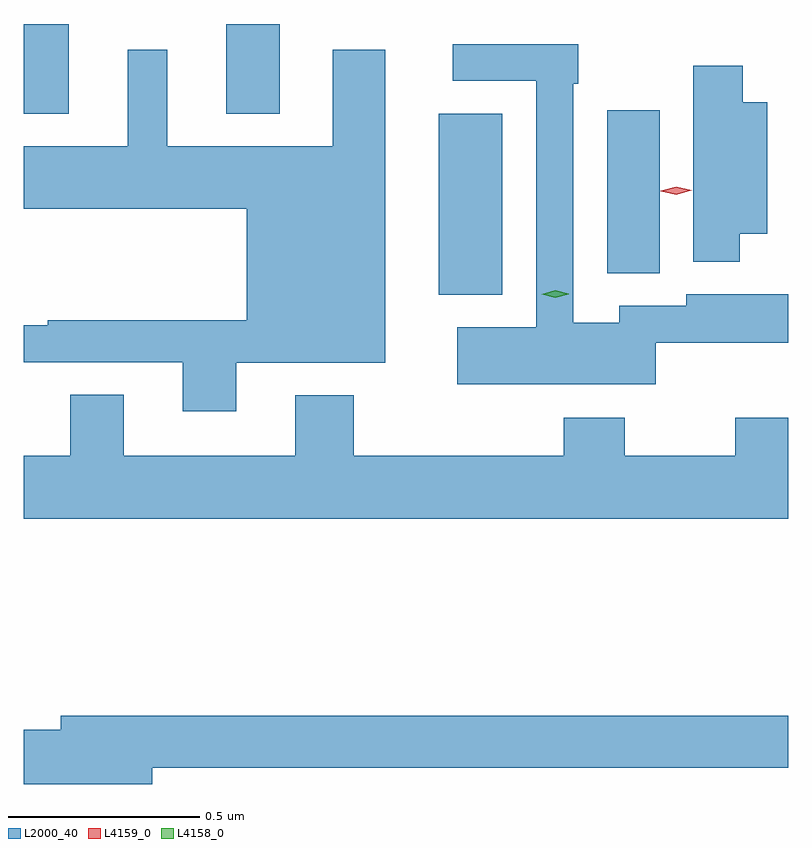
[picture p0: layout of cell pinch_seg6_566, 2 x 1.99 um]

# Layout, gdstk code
import gdstk
lib = gdstk.Library(unit=1e-6, precision=1e-09)
def R(c, l, rs):  # rectangles x0, y0, x1, y1
    for r in rs: c.add(gdstk.rectangle(r[:2], r[2:], *l))
def P(c, l, *ps):  # polygons
    for p in ps: c.add(gdstk.Polygon(p, *l))
L2000_40 = (2000, 40)
L4158_0 = (4158, 0)
L4159_0 = (4159, 0)

pinch_seg6_566 = lib.new_cell('pinch_seg6_566')
R(pinch_seg6_566, L2000_40, [(578.726,990.545,578.893,991.019), (579.167,990.601,579.304,991.027), (577.641,991.019,577.759,991.253), (578.171,991.019,578.311,991.253)])
P(pinch_seg6_566, L2000_40, [(579.294,990.419),(579.641,990.419),(579.641,990.547),(579.374,990.547),(579.374,990.516),(579.198,990.516),(579.198,990.472),(579.078,990.472),(579.078,991.097),(579.091,991.097),(579.091,991.2),(578.763,991.2),(578.763,991.104),(578.982,991.104),(578.982,990.46),(578.775,990.46),(578.775,990.311),(579.294,990.311)],
  [(578.197,990.368),(578.587,990.368),(578.587,991.186),(578.45,991.186),(578.45,990.934),(578.017,990.934),(578.017,991.186),(577.913,991.186),(577.913,990.934),(577.641,990.934),(577.641,990.77),(578.225,990.77),(578.225,990.478),(577.705,990.478),(577.705,990.465),(577.641,990.465),(577.641,990.369),(578.057,990.369),(578.057,990.24),(578.197,990.24)],
  [(579.514,990.704),(579.586,990.704),(579.586,991.048),(579.522,991.048),(579.522,991.144),(579.392,991.144),(579.392,990.632),(579.514,990.632)],
  [(579.641,990.223),(579.502,990.223),(579.502,990.124),(579.213,990.124),(579.213,990.223),(579.053,990.223),(579.053,990.124),(578.504,990.124),(578.504,990.283),(578.351,990.283),(578.351,990.124),(577.903,990.124),(577.903,990.284),(577.763,990.284),(577.763,990.124),(577.641,990.124),(577.641,989.96),(579.641,989.96)],
  [(577.978,989.308),(579.641,989.308),(579.641,989.444),(577.739,989.444),(577.739,989.408),(577.641,989.408),(577.641,989.266),(577.978,989.266)])
P(pinch_seg6_566, L4158_0, [(579.031,990.537),(578.996,990.546),(578.996,990.546),(578.996,990.546),(579.031,990.557),(579.066,990.548),(579.066,990.547),(579.066,990.547)])
P(pinch_seg6_566, L4159_0, [(579.348,990.807),(579.307,990.816),(579.307,990.816),(579.307,990.817),(579.347,990.827),(579.388,990.818),(579.388,990.818),(579.388,990.818)])

lib.write_gds('pinch_seg6_566.gds')
